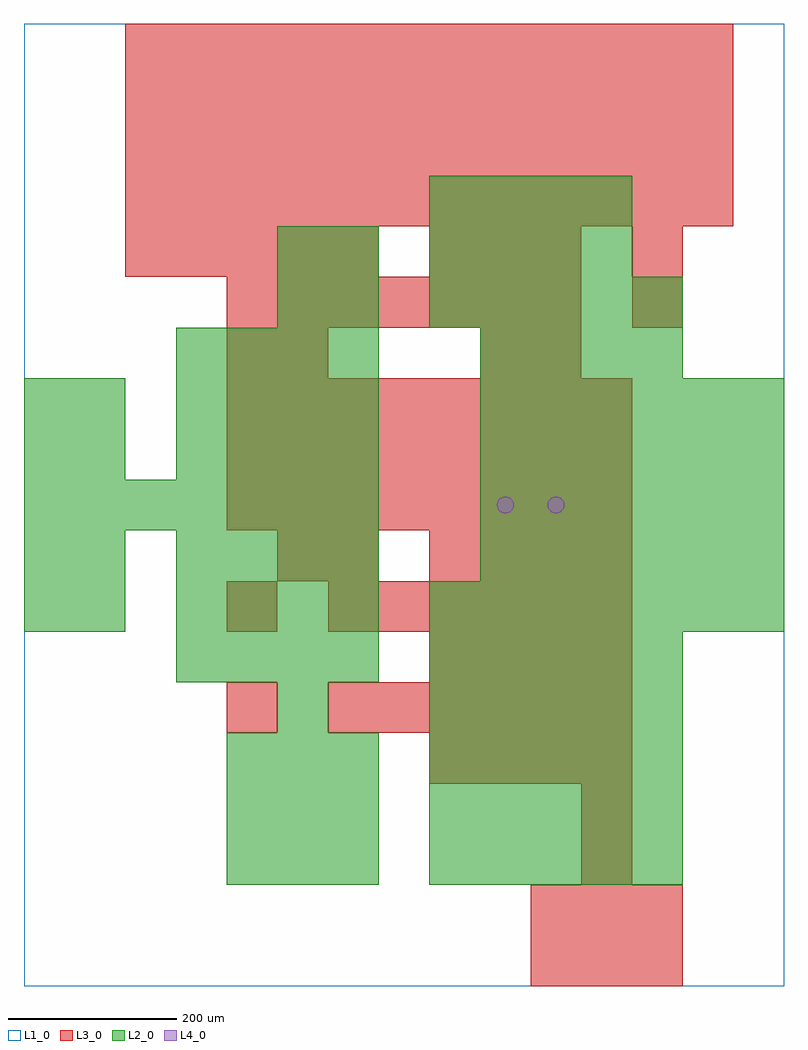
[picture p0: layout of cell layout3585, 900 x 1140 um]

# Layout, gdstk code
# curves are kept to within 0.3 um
import gdstk
lib = gdstk.Library(unit=1e-6, precision=1e-09)
def R(c, l, rs):  # rectangles x0, y0, x1, y1
    for r in rs: c.add(gdstk.rectangle(r[:2], r[2:], *l))
def A(c, l, x, y, w, h, nx, ny, dx, dy):  # array of equal rectangles
    R(c, l, [(x+i*dx, y+j*dy, x+i*dx+w, y+j*dy+h) for i in range(nx) for j in range(ny)])
def P(c, l, *ps):  # polygons
    for p in ps: c.add(gdstk.Polygon(p, *l))
L1_0 = (1, 0)
L2_0 = (2, 0)
L3_0 = (3, 0)
L4_0 = (4, 0)

layout3585 = lib.new_cell('layout3585')
R(layout3585, L1_0, [(0,0,900,1140)])
A(layout3585, L2_0, 240, 120, 60, 60, 3, 3, 60, 60)
A(layout3585, L2_0, 480, 120, 60, 60, 5, 5, 60, 60)
A(layout3585, L2_0, 180, 360, 60, 60, 4, 3, 60, 60)
A(layout3585, L2_0, 480, 420, 60, 60, 7, 1, 60, 0)
A(layout3585, L2_0, 540, 480, 60, 60, 6, 4, 60, 60)
A(layout3585, L2_0, 0, 540, 60, 60, 7, 1, 60, 0)
A(layout3585, L2_0, 180, 600, 60, 60, 4, 3, 60, 60)
A(layout3585, L2_0, 540, 720, 60, 60, 4, 1, 60, 0)
A(layout3585, L2_0, 480, 780, 60, 60, 5, 1, 60, 0)
A(layout3585, L2_0, 480, 840, 60, 60, 4, 2, 60, 60)
R(layout3585, L2_0, [(300,300,360,360), (0,420,60,480), (60,420,120,480), (0,480,60,540), (60,480,120,540), (0,600,60,660), (60,600,120,660), (0,660,60,720), (60,660,120,720), (300,780,360,840), (360,780,420,840), (300,840,360,900), (360,840,420,900)])
A(layout3585, L3_0, 600, 0, 60, 60, 3, 2, 60, 60)
A(layout3585, L3_0, 480, 240, 60, 60, 4, 3, 60, 120)
A(layout3585, L3_0, 360, 300, 60, 60, 6, 2, 60, 120)
A(layout3585, L3_0, 240, 540, 60, 60, 8, 3, 60, 60)
A(layout3585, L3_0, 240, 780, 60, 60, 7, 1, 60, 0)
A(layout3585, L3_0, 120, 840, 60, 60, 5, 1, 60, 0)
A(layout3585, L3_0, 480, 840, 60, 60, 3, 1, 60, 0)
A(layout3585, L3_0, 120, 900, 60, 60, 12, 4, 60, 60)
R(layout3585, L3_0, [(660,120,720,180), (660,180,720,240), (240,300,300,360), (240,420,300,480), (300,480,360,540), (360,480,420,540), (240,720,300,780), (300,720,360,780), (540,720,600,780), (600,720,660,780), (720,780,780,840), (720,840,780,900)])
P(layout3585, L4_0, [(580,570),(579.239,573.827),(577.071,577.071),(573.827,579.239),(570,580),(566.173,579.239),(562.929,577.071),(560.761,573.827),(560,570),(560.761,566.173),(562.929,562.929),(566.173,560.761),(570,560),(573.827,560.761),(577.071,562.929),(579.239,566.173)],
  [(640,570),(639.239,573.827),(637.071,577.071),(633.827,579.239),(630,580),(626.173,579.239),(622.929,577.071),(620.761,573.827),(620,570),(620.761,566.173),(622.929,562.929),(626.173,560.761),(630,560),(633.827,560.761),(637.071,562.929),(639.239,566.173)])

lib.write_gds('layout3585.gds')
